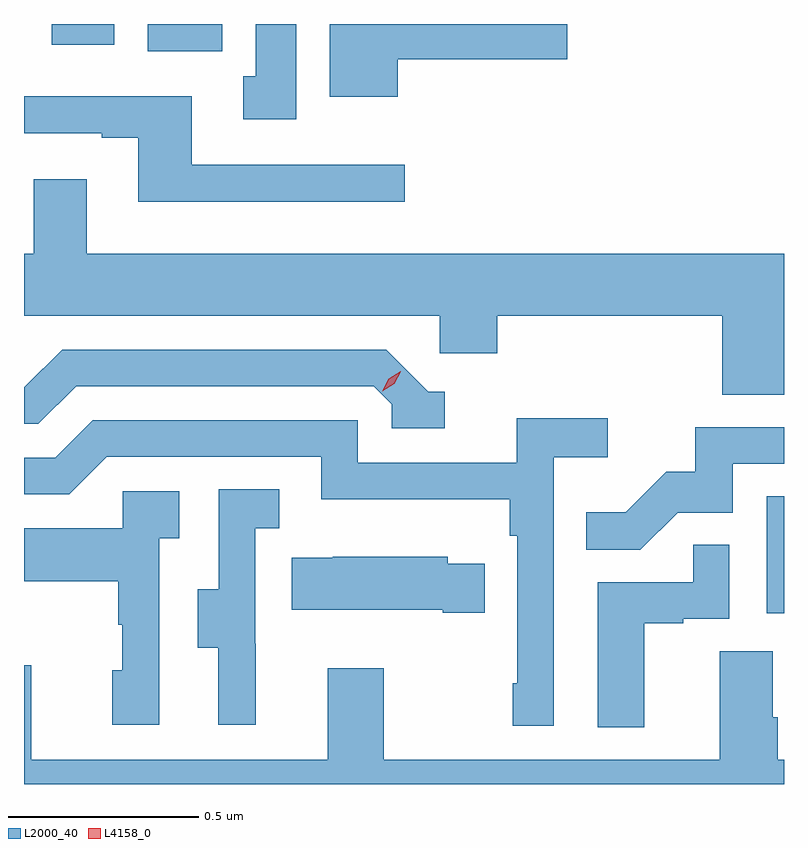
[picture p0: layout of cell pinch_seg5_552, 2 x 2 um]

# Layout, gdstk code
import gdstk
lib = gdstk.Library(unit=1e-6, precision=1e-09)
def R(c, l, rs):  # rectangles x0, y0, x1, y1
    for r in rs: c.add(gdstk.rectangle(r[:2], r[2:], *l))
def P(c, l, *ps):  # polygons
    for p in ps: c.add(gdstk.Polygon(p, *l))
L2000_40 = (2000, 40)
L4158_0 = (4158, 0)

pinch_seg5_552 = lib.new_cell('pinch_seg5_552')
R(pinch_seg5_552, L2000_40, [(952.352,843.99,952.398,844.297), (950.723,845.468,950.92,845.54), (950.471,845.486,950.635,845.54)])
P(pinch_seg5_552, L2000_40, [(951.382,845.447),(951.827,845.447),(951.827,845.54),(951.203,845.54),(951.203,845.348),(951.382,845.348)],
  [(951.115,845.54),(951.008,845.54),(951.008,845.402),(950.975,845.402),(950.975,845.289),(951.115,845.289)],
  [(951.4,845.169),(950.839,845.169),(950.839,845.35),(950.398,845.35),(950.398,845.253),(950.603,845.253),(950.603,845.241),(950.699,845.241),(950.699,845.072),(951.4,845.072)],
  [(952.398,844.936),(950.563,844.936),(950.563,845.131),(950.423,845.131),(950.423,844.936),(950.398,844.936),(950.398,844.772),(951.492,844.772),(951.492,844.674),(951.644,844.674),(951.644,844.772),(952.235,844.772),(952.235,844.564),(952.398,844.564)],
  [(951.505,844.572),(951.462,844.572),(951.351,844.683),(950.498,844.683),(950.399,844.584),(950.398,844.584),(950.398,844.488),(950.436,844.488),(950.535,844.587),(951.318,844.587),(951.366,844.539),(951.366,844.476),(951.505,844.476)],
  [(951.792,844.4),(951.934,844.4),(951.934,844.502),(951.695,844.502),(951.695,844.386),(951.276,844.386),(951.276,844.497),(950.579,844.497),(950.48,844.398),(950.398,844.398),(950.398,844.302),(950.517,844.302),(950.616,844.401),(951.18,844.401),(951.18,844.289),(951.676,844.289),(951.676,844.193),(951.696,844.193),(951.696,843.805),(951.684,843.805),(951.684,843.693),(951.792,843.693)],
  [(952.118,844.254),(952.263,844.254),(952.263,844.383),(952.398,844.383),(952.398,844.479),(952.165,844.479),(952.165,844.362),(952.088,844.362),(951.981,844.255),(951.877,844.255),(951.877,844.156),(952.02,844.156)],
  [(951.008,843.909),(951.006,843.909),(951.006,844.213),(951.07,844.213),(951.07,844.316),(950.91,844.316),(950.91,844.053),(950.855,844.053),(950.855,843.898),(950.909,843.898),(950.909,843.696),(951.008,843.696)],
  [(950.754,844.187),(950.806,844.187),(950.806,844.311),(950.658,844.311),(950.658,844.213),(950.398,844.213),(950.398,844.073),(950.646,844.073),(950.646,843.959),(950.656,843.959),(950.656,843.84),(950.63,843.84),(950.63,843.696),(950.754,843.696)],
  [(952.03,843.963),(952.133,843.963),(952.133,843.975),(952.254,843.975),(952.254,844.169),(952.159,844.169),(952.159,844.071),(951.908,844.071),(951.908,843.689),(952.03,843.689)],
  [(951.611,844.12),(951.513,844.12),(951.513,844.138),(951.211,844.138),(951.211,844.135),(951.103,844.135),(951.103,843.998),(951.5,843.998),(951.5,843.991),(951.611,843.991)],
  [(952.398,843.604),(952.382,843.604),(952.382,843.716),(952.369,843.716),(952.369,843.89),(952.229,843.89),(952.229,843.604),(951.345,843.604),(951.345,843.844),(951.197,843.844),(951.197,843.604),(950.417,843.604),(950.417,843.853),(950.398,843.853),(950.398,843.54),(952.398,843.54)])
P(pinch_seg5_552, L4158_0, [(951.341,844.573),(951.341,844.574),(951.358,844.606),(951.389,844.626),(951.389,844.626),(951.389,844.625),(951.372,844.593),(951.341,844.573)])

lib.write_gds('pinch_seg5_552.gds')
